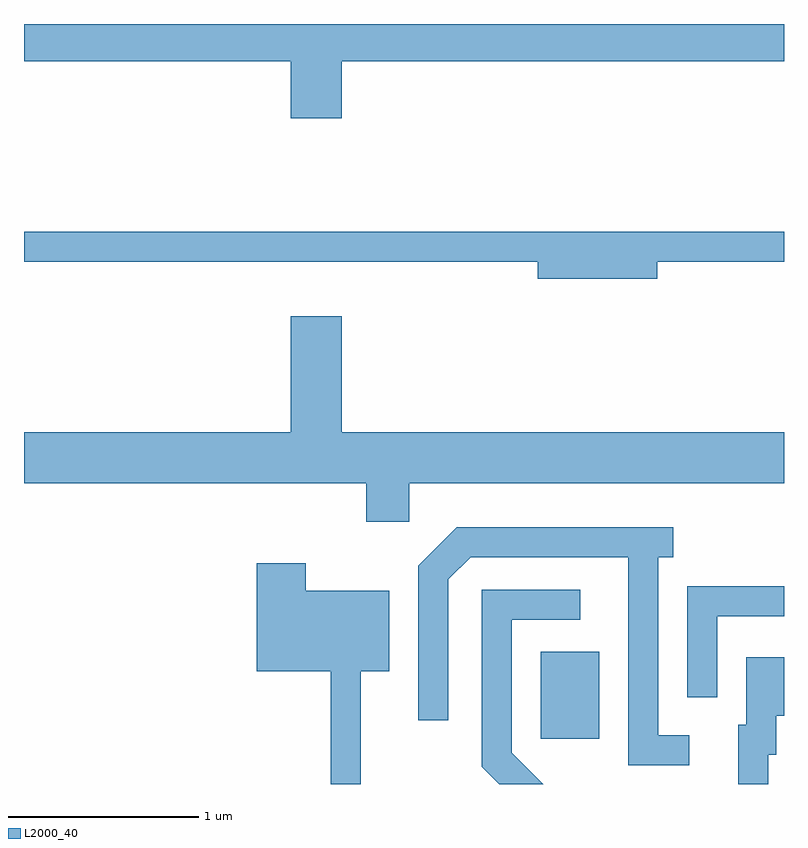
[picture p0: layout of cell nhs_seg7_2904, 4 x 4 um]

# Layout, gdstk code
import gdstk
lib = gdstk.Library(unit=1e-6, precision=1e-09)
def R(c, l, rs):  # rectangles x0, y0, x1, y1
    for r in rs: c.add(gdstk.rectangle(r[:2], r[2:], *l))
def P(c, l, *ps):  # polygons
    for p in ps: c.add(gdstk.Polygon(p, *l))
L2000_40 = (2000, 40)

nhs_seg7_2904 = lib.new_cell('nhs_seg7_2904')
R(nhs_seg7_2904, L2000_40, [(276.331,1748.491,276.639,1748.949)])
P(nhs_seg7_2904, L2000_40, [(275.284,1752.056),(277.611,1752.056),(277.611,1752.252),(273.611,1752.252),(273.611,1752.056),(275.016,1752.056),(275.016,1751.756),(275.284,1751.756)],
  [(276.944,1751.001),(277.611,1751.001),(277.611,1751.159),(273.611,1751.159),(273.611,1751.001),(276.316,1751.001),(276.316,1750.911),(276.944,1750.911)],
  [(275.639,1749.836),(277.611,1749.836),(277.611,1750.104),(275.284,1750.104),(275.284,1750.714),(275.016,1750.714),(275.016,1750.104),(273.611,1750.104),(273.611,1749.836),(275.411,1749.836),(275.411,1749.631),(275.639,1749.631)],
  [(277.113,1748.509),(276.949,1748.509),(276.949,1749.446),(277.028,1749.446),(277.028,1749.604),(275.889,1749.604),(275.686,1749.402),(275.686,1748.588),(275.844,1748.588),(275.844,1749.329),(275.962,1749.446),(276.791,1749.446),(276.791,1748.351),(277.113,1748.351)],
  [(275.384,1748.846),(275.534,1748.846),(275.534,1749.269),(275.094,1749.269),(275.094,1749.414),(274.836,1749.414),(274.836,1748.846),(275.226,1748.846),(275.226,1748.252),(275.384,1748.252)],
  [(277.259,1749.136),(277.611,1749.136),(277.611,1749.294),(277.101,1749.294),(277.101,1748.708),(277.259,1748.708)],
  [(276.179,1748.417),(276.179,1749.116),(276.538,1749.116),(276.538,1749.274),(276.021,1749.274),(276.021,1748.344),(276.113,1748.252),(276.344,1748.252)],
  [(277.529,1748.406),(277.569,1748.406),(277.569,1748.611),(277.611,1748.611),(277.611,1748.919),(277.411,1748.919),(277.411,1748.564),(277.371,1748.564),(277.371,1748.252),(277.529,1748.252)])

lib.write_gds('nhs_seg7_2904.gds')
